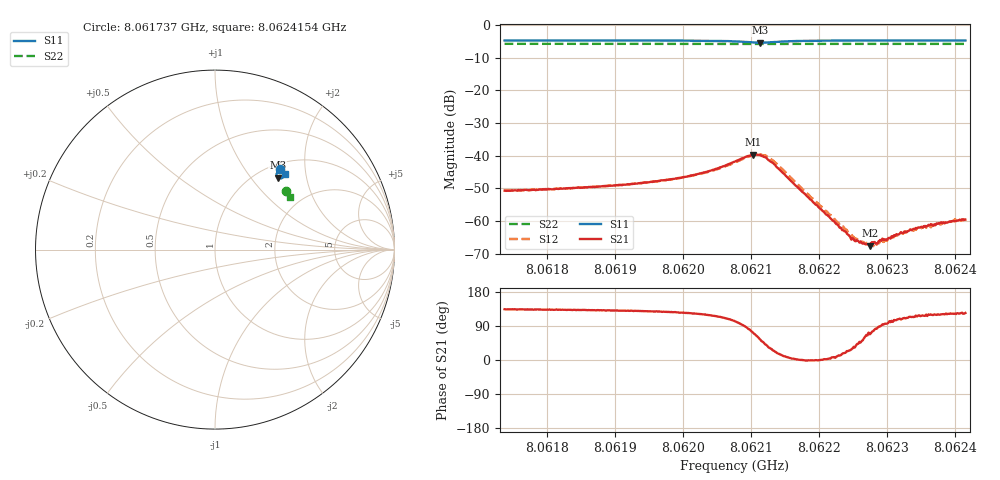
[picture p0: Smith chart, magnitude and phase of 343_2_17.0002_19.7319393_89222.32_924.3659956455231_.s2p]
#  HZ  S  RI  R  50.00
! Rohde & Schwarz Vector Network Analyzer
! Rohde-Schwarz,ZNB20-2Port,1311601062101988,3.16
! Created: UTC 3/20/2024, 11:07:24 PM
! freq[Hz]  re:S11  im:S11  re:S21  im:S21  re:S12  im:S12  re:S22  im:S22
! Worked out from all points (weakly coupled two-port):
!   401 points, 8.061737 GHz to 8.0624154 GHz, reference 50 ohm
!   highest |S21| = -39.65 dB at 8.0621033 GHz (marker M1); lowest = -67.4 dB at 8.0622747 GHz (marker M2)
!   lowest |S11| = -5.5 dB at 8.0621135 GHz (marker M3), VSWR 3.27, Z = 61.4 + j68.6 ohm
!   |S11| at or under -10 dB: nowhere
!   |S22| runs from -5.9 to -5.8 dB; largest |S21 - S12| = 0.001
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8.06173696e9  0.3604 0.4492  -0.00204 0.00211  -0.0019 0.00225  0.3937 0.327
8.06185061e9  0.3679 0.443  -0.00217 0.00242  -0.00203 0.00258  0.3979 0.3213
8.06196425e9  0.3763 0.4344  -0.00253 0.00326  -0.00231 0.00339  0.4021 0.3156
8.06199648e9  0.3791 0.4306  -0.00265 0.00378  -0.00242 0.00391  0.4035 0.3138
8.0620321e9  0.382 0.4245  -0.0028 0.00484  -0.00252 0.00493  0.4046 0.3118
8.0620762e9  0.3816 0.4078  -0.00173 0.00799  -0.00156 0.00771  0.406 0.3091
8.06210334e9  0.3614 0.3958  0.00332 0.00987  0.0028 0.00987  0.4062 0.3074
8.06211352e9  0.3492 0.401  0.00601 0.00824  0.0056 0.0088  0.4059 0.3072
8.062122e9  0.3434 0.4104  0.00717 0.00603  0.00724 0.00685  0.4059 0.3072
8.06213218e9  0.3434 0.4217  0.00703 0.00326  0.00754 0.00391  0.4063 0.3073
8.06218985e9  0.3667 0.4365  0.00204 -3.56e-05  0.00223 -0.000199  0.4095 0.3052
8.06224922e9  0.377 0.4332  0.000474 0.00028  0.000541 0.000242  0.4121 0.3021
8.06226109e9  0.3785 0.4323  0.000339 0.000354  0.000376 0.000319  0.4125 0.3015
8.06227127e9  0.3795 0.4317  0.000188 0.000401  0.000277 0.000372  0.4128 0.3009
8.06227466e9  0.3798 0.4316  0.000161 0.000394  0.000245 0.000373  0.413 0.3008
8.06228823e9  0.3812 0.4306  1.13e-05 0.000504  6.37e-05 0.000457  0.4134 0.2998
8.0623035e9  0.3826 0.4297  -0.000122 0.000546  -4.69e-05 0.000554  0.414 0.2991
8.06231707e9  0.3838 0.4289  -0.000189 0.000596  -0.000116 0.000611  0.4146 0.2985
8.06233233e9  0.385 0.4281  -0.000286 0.000654  -0.000234 0.000653  0.415 0.2976
8.0623459e9  0.3861 0.4273  -0.000369 0.000712  -0.000278 0.000714  0.4156 0.297
8.06238661e9  0.389 0.4249  -0.000518 0.000806  -0.000488 0.000822  0.4169 0.295
8.06241545e9  0.391 0.4233  -0.000594 0.000876  -0.000521 0.000916  0.4179 0.2935
